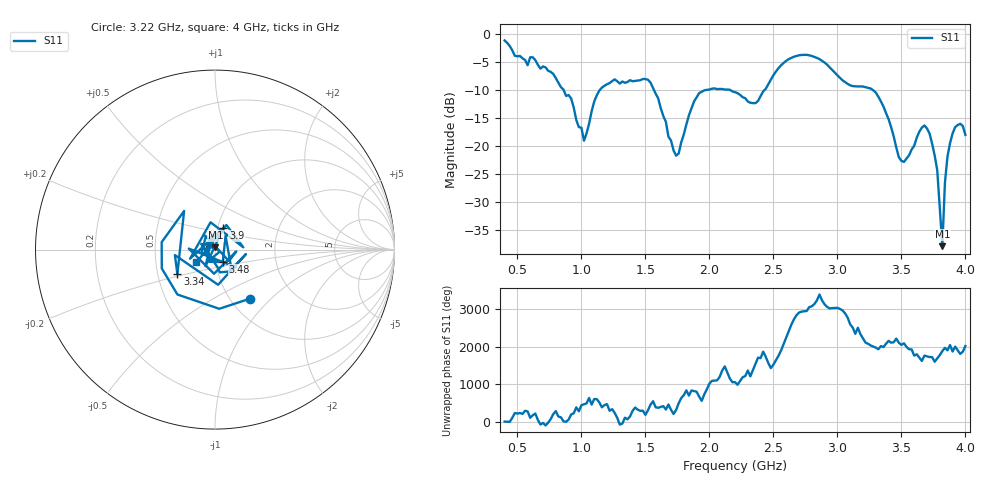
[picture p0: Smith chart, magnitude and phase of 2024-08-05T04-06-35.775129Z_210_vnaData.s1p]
!Created with skrf (http://scikit-rf.org).
# Hz S RI R 50.0
!freq ReS11 ImS11
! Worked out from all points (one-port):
!   181 points, 400 MHz to 4 GHz, reference 50 ohm
!   lowest |S11| = -37.8 dB at 3.82 GHz (marker M1), VSWR 1.03, Z = 50.2 + j1.27 ohm
!   |S11| at or under -10 dB: 861.4 MHz to 1.144 GHz (282.2 MHz wide, 28.2 % of centre); 1.567 GHz to 1.973 GHz (405.3 MHz wide, 22.9 % of centre); 3.277 GHz to end of sweep (the widest 3 of 4)
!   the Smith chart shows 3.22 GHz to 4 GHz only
!   S11 on the Smith chart (normalised r, x): 3.22 GHz: 1.22, -0.75; 3.34 GHz: 0.63, -0.18; 3.48 GHz: 1.08, -0.15; 3.9 GHz: 1.07, +0.26; 4 GHz: 0.80, -0.12
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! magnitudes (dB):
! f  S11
! 400 MHz  -1.2
! 860 MHz  -9.9
! 920 MHz  -11.5
! 1.02 GHz  -19.0
! 1.14 GHz  -10.1
! 1.3 GHz  -8.8
! 1.54 GHz  -8.7
! 1.72 GHz  -20.8
! 1.76 GHz  -21.3
! 1.92 GHz  -10.5
! 2.2 GHz  -10.4
! 2.36 GHz  -12.3
! 2.66 GHz  -4.1
! 2.86 GHz  -4.5
! 3.1 GHz  -9.2
! 3.22 GHz  -9.5
! 3.34 GHz  -12.0
! 3.48 GHz  -22.0
! 3.56 GHz  -21.6
! 3.66 GHz  -16.7
! 3.72 GHz  -17.8
! 3.78 GHz  -24.3
! 3.82 GHz  -37.8
! 3.84 GHz  -26.6
! 3.86 GHz  -21.9
! 3.9 GHz  -17.7
! 3.96 GHz  -16.0
! 4 GHz  -18.0
